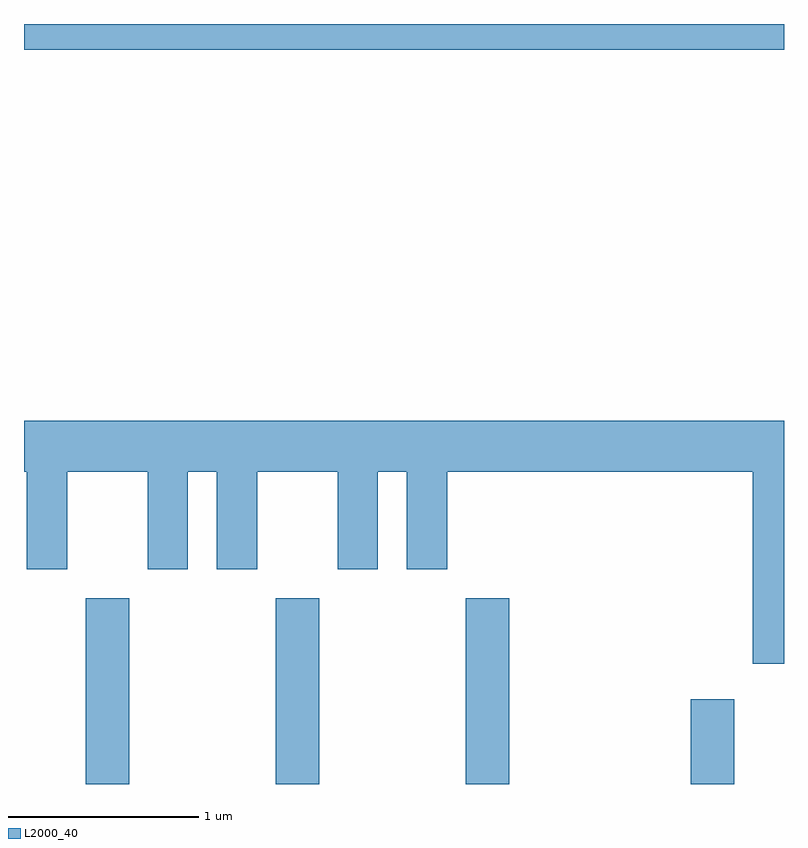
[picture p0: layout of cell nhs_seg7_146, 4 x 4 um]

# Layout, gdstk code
import gdstk
lib = gdstk.Library(unit=1e-6, precision=1e-09)
def R(c, l, rs):  # rectangles x0, y0, x1, y1
    for r in rs: c.add(gdstk.rectangle(r[:2], r[2:], *l))
def A(c, l, x, y, w, h, nx, ny, dx, dy):  # array of equal rectangles
    R(c, l, [(x+i*dx, y+j*dy, x+i*dx+w, y+j*dy+h) for i in range(nx) for j in range(ny)])
def P(c, l, *ps):  # polygons
    for p in ps: c.add(gdstk.Polygon(p, *l))
L2000_40 = (2000, 40)

nhs_seg7_146 = lib.new_cell('nhs_seg7_146')
A(nhs_seg7_146, L2000_40, 189.936, 1688.252, 0.228, 0.977, 3, 1, 1, 0)
R(nhs_seg7_146, L2000_40, [(193.121,1688.252,193.349,1688.699), (189.611,1692.116,193.611,1692.252)])
P(nhs_seg7_146, L2000_40, [(193.611,1690.164),(189.611,1690.164),(189.611,1689.896),(189.626,1689.896),(189.626,1689.381),(189.839,1689.381),(189.839,1689.896),(190.261,1689.896),(190.261,1689.381),(190.474,1689.381),(190.474,1689.896),(190.626,1689.896),(190.626,1689.381),(190.839,1689.381),(190.839,1689.896),(191.261,1689.896),(191.261,1689.381),(191.474,1689.381),(191.474,1689.896),(191.626,1689.896),(191.626,1689.381),(191.839,1689.381),(191.839,1689.896),(193.446,1689.896),(193.446,1688.886),(193.611,1688.886)])

lib.write_gds('nhs_seg7_146.gds')
